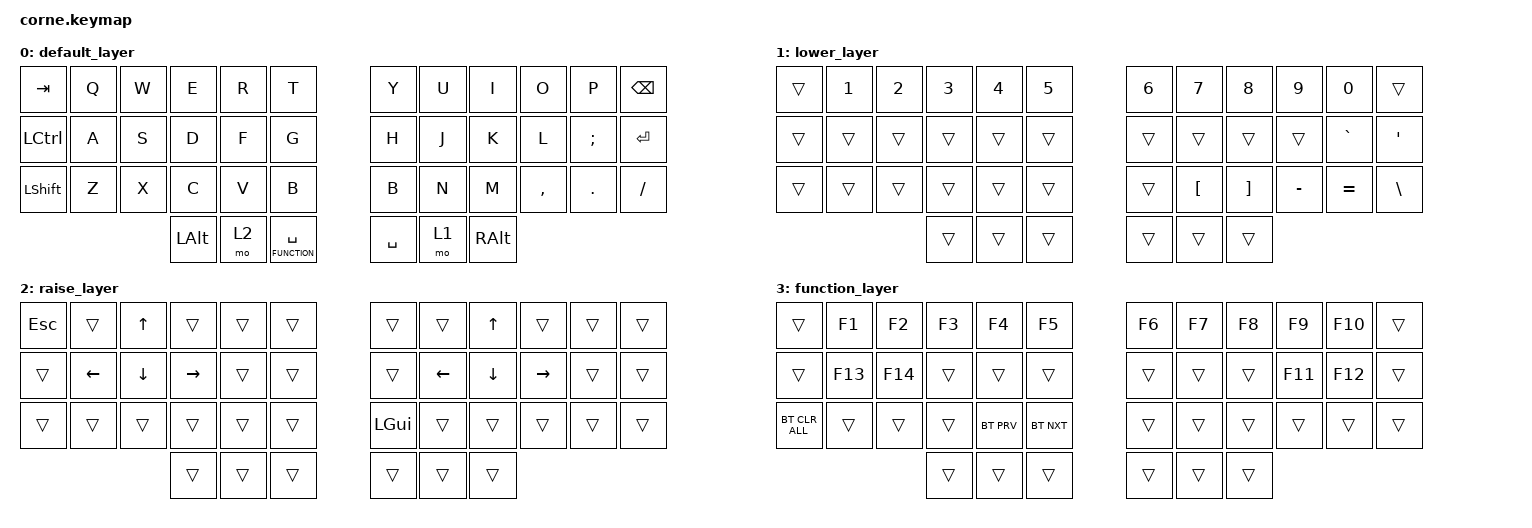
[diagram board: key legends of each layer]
/*
 * Copyright (c) 2020 The ZMK Contributors
 *
 * SPDX-License-Identifier: MIT
 */

#include <behaviors.dtsi>
#include <dt-bindings/zmk/keys.h>
#include <dt-bindings/zmk/bt.h>

#define DEFAULT   0
#define LOWER     1
#define RAISE     2
#define FUNCTION  3

/ {
        keymap {
                compatible = "zmk,keymap";

                default_layer {
                        bindings = <
   &kp TAB   &kp Q &kp W &kp E &kp R &kp T   &kp Y &kp U  &kp I     &kp O     &kp P     &kp BSPC
   &kp LCTRL &kp A &kp S &kp D &kp F &kp G   &kp H &kp J  &kp K     &kp L     &kp SEMI  &kp ENTER
   &kp LSHFT &kp Z &kp X &kp C &kp V &kp B   &kp B &kp N  &kp M     &kp COMMA &kp DOT   &kp FSLH
                &kp LALT &mo 2 &lt FUNCTION SPACE   &kp SPACE &mo 1 &kp RALT
                        >;
                };
                lower_layer {
                        bindings = <
   &trans   &kp N1    &kp N2    &kp N3    &kp N4    &kp N5      &kp N6   &kp N7    &kp N8    &kp N9      &kp N0      &trans
   &trans   &trans    &trans    &trans    &trans    &trans      &trans   &trans    &trans    &trans      &kp GRAVE   &kp SQT
   &trans   &trans    &trans    &trans    &trans    &trans      &trans   &kp LBKT  &kp RBKT  &kp MINUS   &kp EQUAL   &kp BSLH
                                &trans    &trans    &trans      &trans   &trans    &trans
                        >;
                };

                raise_layer {
                        bindings = <
   &kp ESC  &trans      &kp UP      &trans      &trans    &trans      &trans    &trans      &kp UP      &trans      &trans   &trans
   &trans   &kp LEFT    &kp DOWN    &kp RIGHT   &trans    &trans      &trans    &kp LEFT    &kp DOWN    &kp RIGHT   &trans   &trans
   &trans   &trans      &trans      &trans      &trans    &trans      &kp LGUI  &trans      &trans      &trans      &trans   &trans
                                    &trans      &trans    &trans      &trans    &trans      &trans
                        >;
                };

                function_layer {
                        bindings = <
   &trans   &kp F1      &kp F2      &kp F3      &kp F4    &kp F5      &kp F6    &kp F7      &kp F8      &kp F9      &kp F10   &trans
   &trans   &kp F13     &kp F14     &trans      &trans    &trans      &trans    &trans      &trans      &kp F11     &kp F12   &trans
   &bt BT_CLR_ALL   &trans   &trans      &trans      &bt BT_PRV    &bt BT_NXT      &trans    &trans      &trans      &trans      &trans    &trans
                                    &trans      &trans    &trans      &trans    &trans      &trans
                        >;
                };
        };
};
